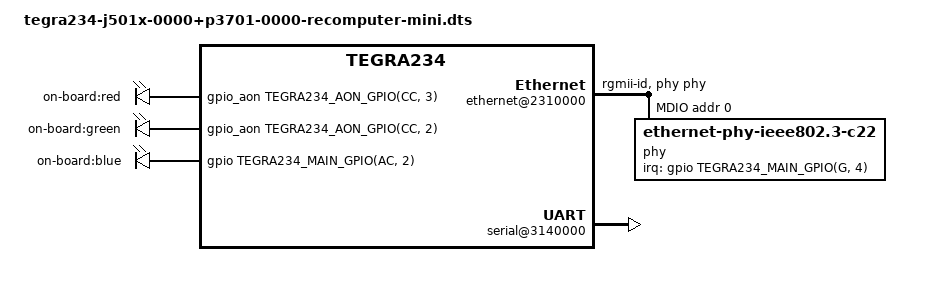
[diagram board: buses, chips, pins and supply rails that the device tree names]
// SPDX-License-Identifier: GPL-2.0-only
// SPDX-FileCopyrightText: Copyright (c) 2023, NVIDIA CORPORATION & AFFILIATES.  All rights reserved.

/dts-v1/;

#include "tegra234-j501x-0000+p3701-0000.dts"
#include "tegra234-p3737-0000+p3701-xxxx-nv-common.dtsi"
#include "tegra234-p3701-0000.dtsi"
#include "tegra234-dcb-j501x-0000-p3701-0000.dtsi"

#include <dt-bindings/net/ti-dp83867.h>
/ {
	aliases {
		serial4 = "/bus@0/serial@3140000";
	};

	leds {
		status = "okay";
		compatible = "gpio-leds";

		led_red {
			label = "on-board:red";
			gpios = <&gpio_aon TEGRA234_AON_GPIO(CC, 3) GPIO_ACTIVE_HIGH>;
			linux,default-trigger = "none";
			default-state = "off";
		};

		led_green {
			label = "on-board:green";
			gpios = <&gpio_aon TEGRA234_AON_GPIO(CC, 2) GPIO_ACTIVE_HIGH>;
			linux,default-trigger = "none";
			default-state = "off";
		};

		led_blue {
			label = "on-board:blue";
			gpios = <&gpio TEGRA234_MAIN_GPIO(AC, 2) GPIO_ACTIVE_HIGH>;
			linux,default-trigger = "none";
			default-state = "off";
		};
	};

	bus@0 {

		//Gigabit Ethernet
		ethernet@2310000 {
			status = "okay";
			nvidia,mac-addr-idx = <1>;
			nvidia,max-platform-mtu = <8000>;
			nvidia,pause_frames = <0>;
			nvidia,phy-reset-gpio = <&gpio TEGRA234_MAIN_GPIO(G, 5) 0>;
			phy-handle = <&phy>;
			phy-mode = "rgmii-id";		
		
			mdio {
				compatible = "nvidia,eqos-mdio";
				#address-cells = <1>;
				#size-cells = <0>;
				phy: phy@0 {
					reg = <0>;
					compatible = "ethernet-phy-ieee802.3-c22";
					tx-fifo-depth = <DP83867_PHYCR_FIFO_DEPTH_4_B_NIB>;
					rx-fifo-depth = <DP83867_PHYCR_FIFO_DEPTH_4_B_NIB>;
					ti,max-output-impedance;
				//	ti,clk-output-sel = <DP83867_CLK_O_SEL_CHN_A_RCLK>;
					ti,rx-internal-delay = <DP83867_RGMIIDCTL_2_75_NS>;
					ti,tx-internal-delay = <DP83867_RGMIIDCTL_2_75_NS>;
					interrupt-parent = <&gpio>;
					interrupts = <TEGRA234_MAIN_GPIO(G, 4) IRQ_TYPE_LEVEL_LOW>; //<TODO> Need to check
				};			
			};
		};


		//CAN0
		mttcan@c310000 {
			status = "okay";
		};

		//CAN1
		mttcan@c320000 {
			status = "okay";
		};

		/// ttyTHS4
		serial@3140000 {
			compatible = "nvidia,tegra194-hsuart";
			reset-names = "serial";
			rs485-de-gpios = <&gpio TEGRA234_MAIN_GPIO(Y, 7) GPIO_ACTIVE_LOW>;
			status = "okay";	
			/delete-property/ dmas;
			/delete-property/ dma-names;
		};
	};
};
